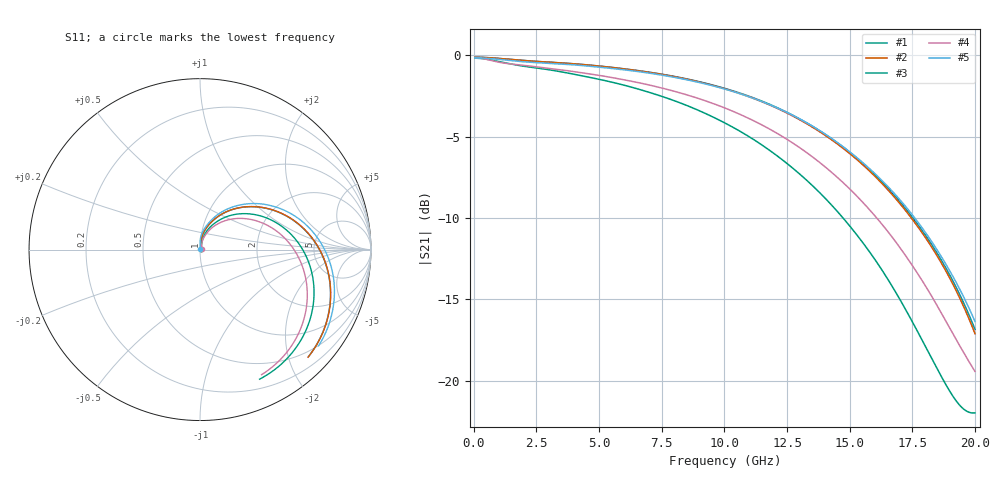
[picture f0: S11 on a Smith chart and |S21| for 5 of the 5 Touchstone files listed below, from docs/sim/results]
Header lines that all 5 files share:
#  Hz  S  RI  R  50
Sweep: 50 MHz to 20 GHz
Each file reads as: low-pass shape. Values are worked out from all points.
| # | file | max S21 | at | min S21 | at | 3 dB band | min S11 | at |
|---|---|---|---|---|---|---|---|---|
| 1 | Ind2_D250_N2_W26_TO.s2p | -0.13 dB | 50 MHz | -16.8 dB | 20 GHz | 50 MHz-11.95 GHz | -46.4 dB | 50 MHz |
| 2 | Ind2_D250_N2_W26_TO_far.s2p | -0.13 dB | 50 MHz | -17.1 dB | 20 GHz | 50 MHz-11.9 GHz | -46.4 dB | 50 MHz |
| 3 | spiral_4turn.s2p | -0.18 dB | 50 MHz | -22.0 dB | 19.95 GHz | 50 MHz-8.65 GHz | -42.2 dB | 50 MHz |
| 4 | spiral_4turn_closed.s2p | -0.16 dB | 50 MHz | -19.4 dB | 20 GHz | 50 MHz-9.85 GHz | -39.4 dB | 50 MHz |
| 5 | symmetric.s2p | -0.16 dB | 50 MHz | -16.4 dB | 20 GHz | 50 MHz-11.95 GHz | -50.4 dB | 50 MHz |
